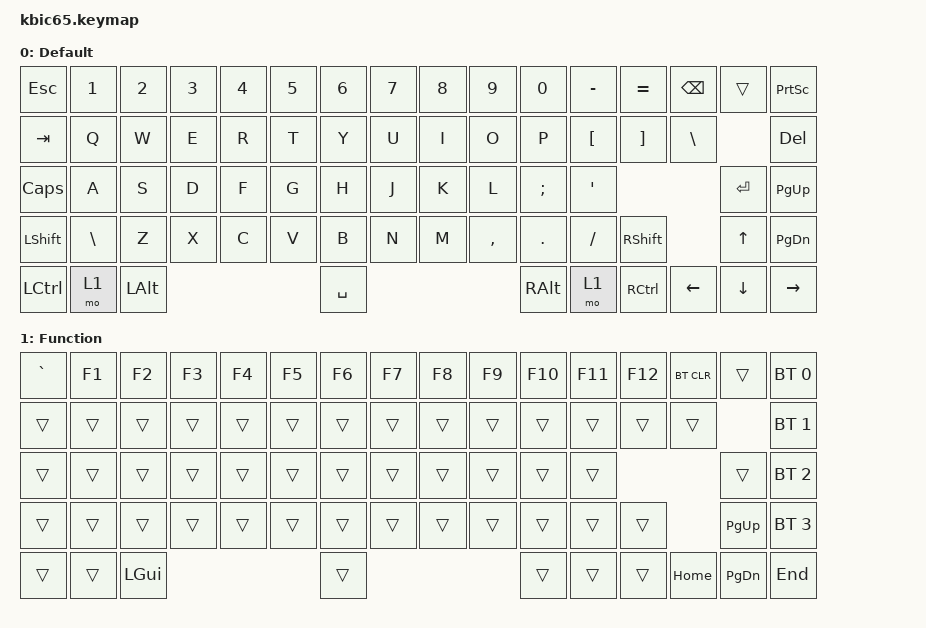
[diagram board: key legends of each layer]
/*
 * Copyright (c) 2020 The ZMK Contributors
 *
 * SPDX-License-Identifier: MIT
 */

#include <behaviors.dtsi>
#include <dt-bindings/zmk/keys.h>
#include <dt-bindings/zmk/bt.h>
#include <dt-bindings/zmk/ext_power.h>
#include <dt-bindings/zmk/outputs.h>

&soft_off {
	hold-time-ms = <5000>;
};

/ {
	keymap {
		compatible = "zmk,keymap";

		default_layer {
			label = "Default";

			bindings = <
            &kp ESC     &kp N1    &kp N2    &kp N3    &kp N4    &kp N5    &kp N6    &kp N7    &kp N8  &kp N9    &kp N0    &kp MINUS &kp EQUAL &kp BSPC &trans   &kp PSCRN
            &kp TAB     &kp Q     &kp W     &kp E     &kp R     &kp T     &kp Y     &kp U     &kp I   &kp O     &kp P     &kp LBKT  &kp RBKT  &kp BSLH          &kp DEL
            &kp CLCK    &kp A     &kp S     &kp D     &kp F     &kp G     &kp H     &kp J     &kp K   &kp L     &kp SEMI  &kp SQT                      &kp RET  &kp PG_UP
            &kp LSHFT   &kp BSLH  &kp Z     &kp X     &kp C     &kp V     &kp B     &kp N     &kp M   &kp COMMA &kp DOT   &kp FSLH  &kp RSHFT          &kp UP   &kp PG_DN
            &kp LCTRL   &mo 1     &kp LALT                                &kp SPACE                             &kp RALT  &mo 1     &kp RCTRL &kp LEFT &kp DOWN &kp RIGHT
			>;
		};
		function_layer {
			label = "Function";

			bindings = <
            &kp GRAVE  &kp F1     &kp F2    &kp F3    &kp F4      &kp F5      &kp F6      &kp F7    &kp F8  &kp F9    &kp F10   &kp F11   &kp F12    &bt BT_CLR &trans     &bt BT_SEL 0
            &trans     &trans     &trans    &trans    &trans      &trans      &trans      &trans    &trans  &trans    &trans    &trans    &trans     &trans                &bt BT_SEL 1
            &trans     &trans     &trans    &trans    &trans      &trans      &trans      &trans    &trans  &trans    &trans    &trans                          &trans     &bt BT_SEL 2
            &trans     &trans     &trans    &trans    &trans      &trans      &trans      &trans    &trans  &trans    &trans    &trans    &trans                &kp PG_UP  &bt BT_SEL 3
            &trans     &trans     &kp LGUI                                    &trans                                  &trans    &trans    &trans     &kp HOME   &kp PG_DN  &kp END
			>;
		};
	};
};
